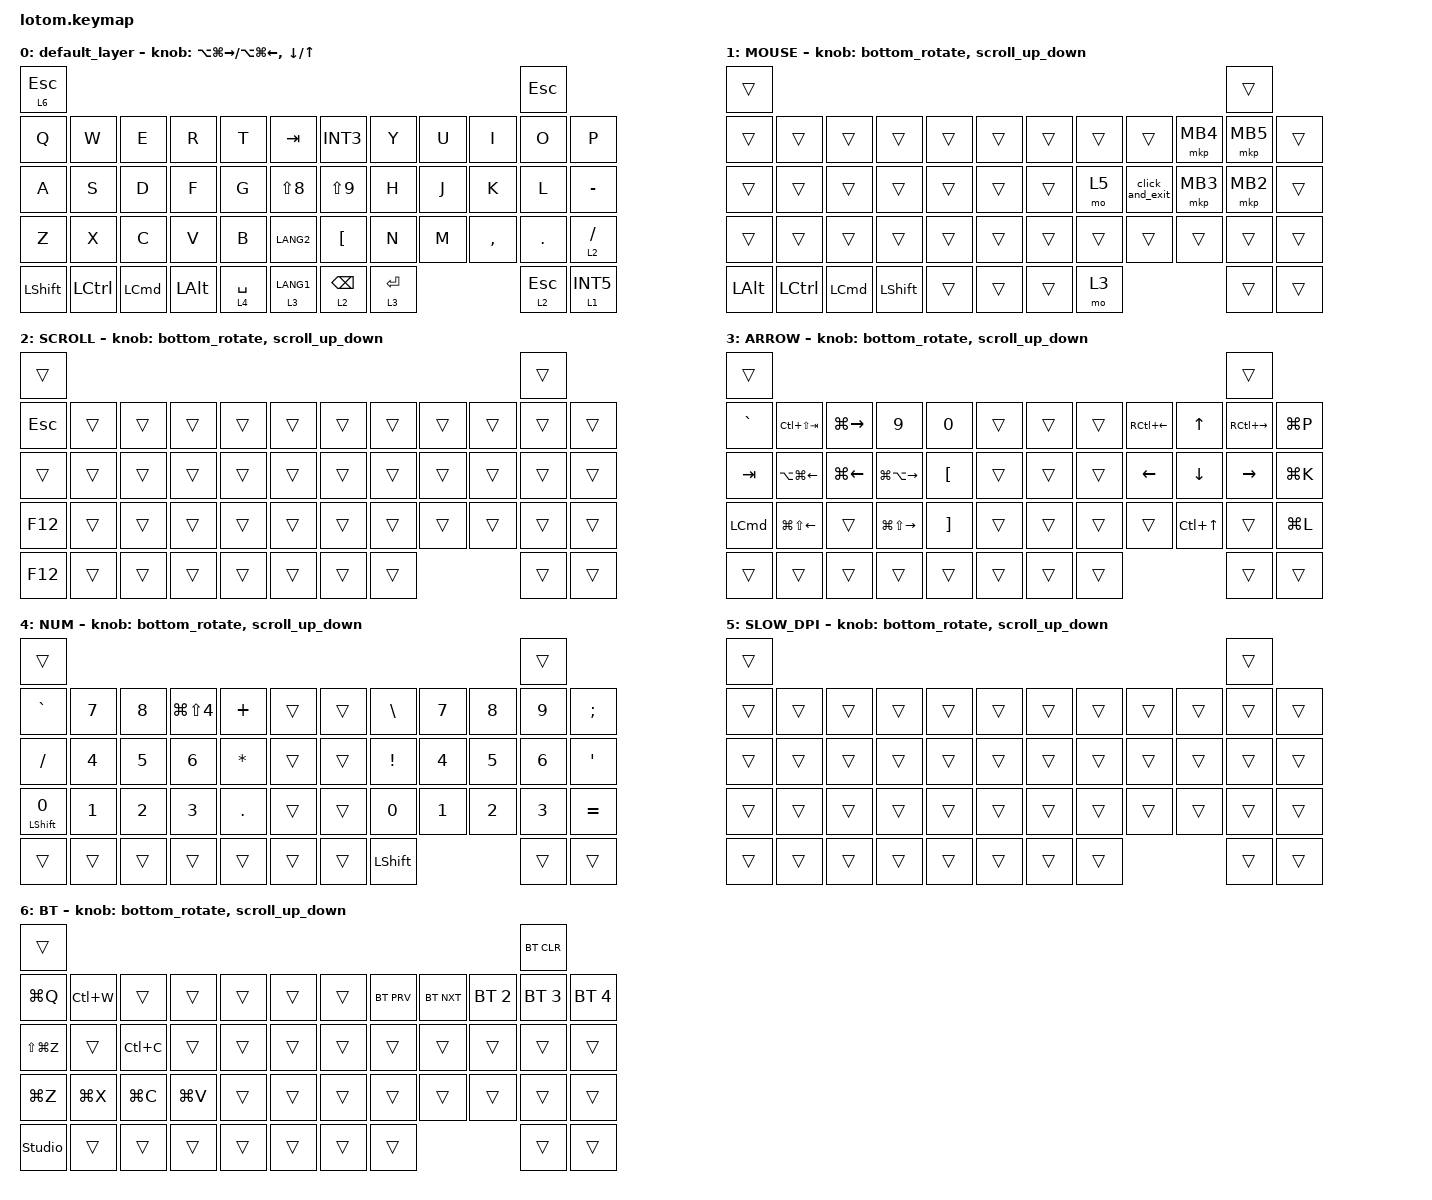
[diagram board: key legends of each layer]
#include <behaviors.dtsi>
#include <dt-bindings/zmk/bt.h>
#include <dt-bindings/zmk/keys.h>
#include <dt-bindings/zmk/pointing.h>
#include <zephyr/dt-bindings/input/input-event-codes.h>
#include <input/processors/runtime-input-processor.dtsi>
#include <behaviors/runtime-input-processor.dtsi>
#include <behaviors/runtime_macro.dtsi>
#include <behaviors/runtime-sensor-rotate.dtsi>

#undef ZMK_POINTING_DEFAULT_SCRL_VAL
#define ZMK_POINTING_DEFAULT_SCRL_VAL 80

/* ========================================================
   オートマウスレイヤー＆トラックボールリスナー設定
   ======================================================== */
&zip_temp_layer {
    /delete-property/ excluded-positions;
};

/* 既存のリスナーを参照してinput-processorsを上書き（左右どちらのビルドでもエラーになりません） */
&trackball_listener {
    input-processors = <&zip_temp_layer 1 400>;
};

&mouse_runtime_input_processor {
    temp-layer-enabled;
    temp-layer = <1>;
    temp-layer-activation-delay-ms = <0>;
    temp-layer-deactivation-delay-ms = <400>;
};

/ {
    behaviors {
      scroll_up_down: behavior_sensor_rotate_mouse_wheel_up_down {
          compatible = "zmk,behavior-runtime-sensor-rotate";
          label = "ENCODER_MSC_DOWN_UP";
          #sensor-binding-cells = <0>;
          cw-binding = <&msc SCRL_DOWN>;
          ccw-binding = <&msc SCRL_UP>;
      };

      bottom_rotate: behavior_sensor_rotate_bottom {
          compatible = "zmk,behavior-runtime-sensor-rotate";
          label = "ENCODER_BOTTOM";
          #sensor-binding-cells = <0>;
          cw-binding = <&kp LA(LG(RIGHT))>;
          ccw-binding = <&kp LA(LG(LEFT))>;
      };

      /* クリック後200ms間マウスレイヤーを保持する設定 */
      sl_mouse: sticky_layer_for_mouse {
          compatible = "zmk,behavior-sticky-key";
          #binding-cells = <1>;
          bindings = <&mo>;
          release-after-ms = <200>;
          quick-release;
          ignore-modifiers;
      };
    };

    macros {
      /* 左クリック時にオートマウスレイヤーを脱出するマクロ */
      click_and_exit: click_and_exit {
          compatible = "zmk,behavior-macro";
          #binding-cells = <0>;
          wait-ms = <0>;
          tap-ms = <0>;
          bindings
              = <&macro_press &mkp LCLK>
              , <&macro_pause_for_release>
              , <&macro_release &mkp LCLK>
              , <&macro_tap &to 0>
              , <&macro_tap &sl_mouse 1>;
      };
    };

    keymap: keymap {
        compatible = "zmk,keymap";

        // Layer 0 (デフォルトレイヤー)
        default_layer {
            bindings = <
&lt 6 ESC                                                                                                                                             &kp ESC
&kp Q       &kp W         &kp E             &kp R           &kp T            &kp TAB            &kp INT3    &kp Y            &kp U     &kp I      &kp O        &kp P
&kp A       &kp S         &kp D             &kp F           &kp G            &kp LS(N8)         &kp LS(N9)  &kp H            &kp J     &kp K      &kp L        &kp MINUS
&kp Z       &kp X         &kp C             &kp V           &kp B            &kp LANG2          &kp LBKT    &kp N            &kp M     &kp COMMA  &kp DOT      &lt 2 SLASH
&kp LSHIFT  &kp LCTRL     &kp LCMD          &kp LALT        &lt 4 SPACE      &lt 3 LANG1        &lt 2 BSPC  &lt 3 ENTER                           &lt 2 ESC    &lt 1 INT5
            >;
            sensor-bindings = <
                &inc_dec_kp LA(LG(RIGHT)) LA(LG(LEFT))
                &inc_dec_kp DOWN UP
            >;
        };

        // Layer 1 (MOUSE レイヤー)
        MOUSE {
            bindings = <
&trans                                                                                                                                                                &trans
&trans      &trans        &trans            &trans          &trans           &trans             &trans      &trans           &trans           &mkp MB4   &mkp MB5     &trans
&trans      &trans        &trans            &trans          &trans           &trans             &trans      &mo 5            &click_and_exit  &mkp MB3   &mkp MB2     &trans
&trans      &trans        &trans            &trans          &trans           &trans             &trans      &trans           &trans           &trans     &trans       &trans
&kp LALT    &kp LCTRL     &kp LCMD          &kp LSHIFT      &trans           &trans             &trans      &mo 3                                              &trans       &trans
            >;
            sensor-bindings = <
                &bottom_rotate
                &scroll_up_down
            >;
        };

        // Layer 2 (SCROLL レイヤー)
        SCROLL {
            bindings = <
&trans                                                                                        &trans
&kp ESCAPE  &trans  &trans  &trans  &trans  &trans      &trans  &trans  &trans  &trans  &trans  &trans
&trans      &trans  &trans  &trans  &trans  &trans      &trans  &trans  &trans  &trans  &trans  &trans
&kp F12     &trans  &trans  &trans  &trans  &trans      &trans  &trans  &trans  &trans  &trans  &trans
&kp F12     &trans  &trans  &trans  &trans  &trans      &trans  &trans                  &trans  &trans
            >;
            sensor-bindings = <
                &bottom_rotate
                &scroll_up_down
            >;
        };

        // Layer 3 (ARROW レイヤー)
        ARROW {
            bindings = <
&trans                                                                                                                                                                                               &trans
&kp GRAVE  &kp LC(LS(TAB))         &kp LG(RIGHT)   &kp N9                   &kp N0             &trans      &trans  &trans  &kp RC(LEFT)        &kp UP            &kp RC(RIGHT)        &kp LG(P)
&kp TAB    &kp LA(LG(LEFT))        &kp LG(LEFT)    &kp LG(LA(RIGHT))        &kp LBKT           &trans      &trans  &trans  &kp LEFT            &kp DOWN          &kp RIGHT            &kp LG(K)
&kp LCMD   &kp LG(LS(LEFT))        &trans          &kp LG(LS(RIGHT))        &kp RBKT           &trans      &trans  &trans  &trans              &kp LC(UP)        &trans               &kp LG(L)
&trans     &trans                  &trans          &trans                   &trans             &trans      &trans  &trans                                        &trans               &trans
            >;
            sensor-bindings = <
                &bottom_rotate
                &scroll_up_down
            >;
        };

        // Layer 4 (NUM レイヤー)
        NUM {
            bindings = <
&trans                                                                                                                                                                                     &trans
&kp GRAVE                &kp N7        &kp N8        &kp LG(LS(N4))        &kp PLUS      &trans      &trans  &kp BACKSLASH    &kp N7        &kp N8        &kp N9        &kp SEMICOLON
&kp SLASH                &kp N4        &kp N5        &kp N6                &kp ASTERISK  &trans      &trans  &kp EXCLAMATION  &kp N4        &kp N5        &kp N6        &kp SQT
&mt LSHIFT N0            &kp N1        &kp N2        &kp N3                &kp PERIOD    &trans      &trans  &kp N0           &kp N1        &kp N2        &kp N3        &kp EQUAL
&trans                   &trans        &trans        &trans                &trans        &trans      &trans  &kp LSHIFT                                     &trans        &trans
            >;
            sensor-bindings = <
                &bottom_rotate
                &scroll_up_down
            >;
        };

        // Layer 5 (SLOW_DPI 精密操作レイヤー)
        SLOW_DPI {
            bindings = <
&trans                                                                                   &trans
&trans  &trans  &trans  &trans  &trans  &trans      &trans   &trans  &trans  &trans  &trans   &trans
&trans  &trans  &trans  &trans  &trans  &trans      &trans   &trans  &trans  &trans  &trans   &trans
&trans  &trans  &trans  &trans  &trans  &trans      &trans   &trans  &trans  &trans  &trans   &trans
&trans  &trans  &trans  &trans  &trans  &trans      &trans   &trans                  &trans   &trans
            >;
            sensor-bindings = <
                &bottom_rotate
                &scroll_up_down
            >;
        };

        // Layer 6 (BT レイヤー)
        BT {
            bindings = <
&trans                                                                                                                                                           &bt BT_CLR
&kp LG(Q)         &kp LC(W)  &trans     &trans     &trans  &trans      &trans  &bt BT_PRV  &bt BT_NXT  &bt BT_SEL 2  &bt BT_SEL 3  &bt BT_SEL 4
&kp LS(LG(Z))     &trans     &kp LC(C)  &trans     &trans  &trans      &trans  &trans      &trans      &trans        &trans        &trans
&kp LG(Z)         &kp LG(X)  &kp LG(C)  &kp LG(V)  &trans  &trans      &trans  &trans      &trans      &trans        &trans        &trans
&studio_unlock    &trans     &trans     &trans     &trans  &trans      &trans  &trans                                &trans        &trans
            >;
            sensor-bindings = <
                &bottom_rotate
                &scroll_up_down
            >;
        };
    };
};
